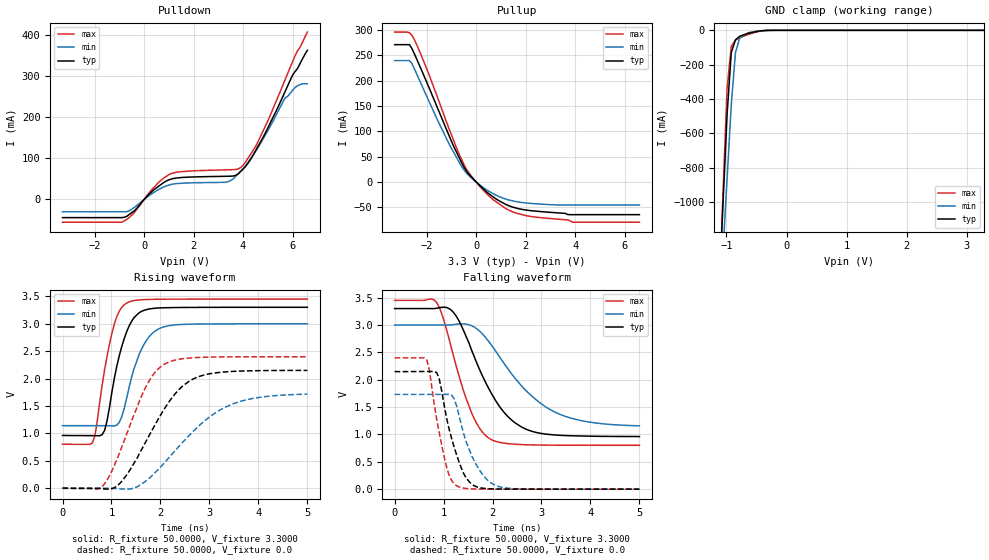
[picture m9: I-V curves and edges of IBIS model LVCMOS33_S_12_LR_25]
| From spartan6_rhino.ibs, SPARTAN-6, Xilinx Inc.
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|   Model LVCMOS33_S_12_LR_25
[Model]  LVCMOS33_S_12_LR_25
Model_type I/O
Polarity   Non-Inverting
Enable   Active-Low
Vinl =   0.8000V
Vinh =   2.0000V
Vmeas =  1.6500V
Cref =   0.0F
Rref =   1.0000M
Vref =   0.0V
C_comp   6.08pF   5.79pF   6.38pF
|C_comp  6.55pF   6.18pF   6.90pF
[Temperature Range]   25.0000   85.0000   0.0
[Voltage Range]   3.3000V   3.0000V   3.4500V
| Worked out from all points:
|   slope of the pulldown table from 0 to 0.495 V, typ, clamps not added: 17.6 ohm
|   slope of the pullup table from 0 to 0.495 V, typ, clamps not added: 21.9 ohm
|   GND clamp passes 1 mA (typ) near -0.37 V on its own axis
|   rising waveform, R_fixture 50.0000, V_fixture 3.3000: 20-80 % time 352ps typ, 392ps min, 311ps max; typ from 0.963 V to 3.3 V
|   rising waveform, R_fixture 50.0000, V_fixture 0.0: 20-80 % time 855ps typ, 1.16ns min, 656ps max; typ from 0.005 V to 2.15 V
|   falling waveform, R_fixture 50.0000, V_fixture 3.3000: 20-80 % time 772ps typ, 1.07ns min, 544ps max; typ from 3.3 V to 0.962 V
|   falling waveform, R_fixture 50.0000, V_fixture 0.0: 20-80 % time 367ps typ, 431ps min, 290ps max; typ from 2.15 V to 0 V
[Pulldown]
|Voltage   I(typ)   I(min)   I(max)
-3.3V     -44.1mA    -29.8mA    -55.19mA
-900mV    -44.1mA    -29.8mA    -55.19mA
-400mV    -28.02mA   -19.52mA   -31.94mA
300mV     18.55mA    13.49mA    23.39mA
1V        47.69mA    35mA       60.39mA
3.3V      56.34mA    42.11mA    71.89mA
3.9V      67.81mA    68.54mA    77.64mA
4.6V      128.4mA    125.4mA    139.6mA
5.7V      262.2mA    246.9mA    290.8mA
6V        301.8mA    264.9mA    334.5mA
6.2V      318mA      276.5mA    361mA
6.6V      362.4mA    281.2mA    406.7mA
[Pullup]
|Voltage   I(typ)   I(min)   I(max)
-3.3V     271.2mA    239.8mA    296mA
-2.7V     271.2mA    239.8mA    294.7mA
-2.6V     263.6mA    233.8mA    289.8mA
-2V       197mA      169.1mA    223.4mA
-1.1V     92.03mA    75.56mA    105.6mA
-500mV    30mA       24.41mA    35.09mA
0V        241.4uA    90.5nA     720.3nA
700mV     -29.7mA    -23.18mA   -35.27mA
1.4V      -48.09mA   -36.21mA   -57.21mA
2.2V      -56.26mA   -41.99mA   -67.72mA
3.9V      -64.22mA   -45.24mA   -79.08mA
6.6V      -64.22mA   -45.24mA   -79.08mA
[GND_clamp]
|Voltage   I(typ)   I(min)   I(max)
-3.3V     -18.52A    -15.36A    -21.95A
-1.13V    -1.576A    -1.741A    -1.622A
-1.06V    -1.033A    -1.304A    -972.3mA
-990mV    -491.6mA   -868.4mA   -339.8mA
-920mV    -129.2mA   -432.6mA   -93.44mA
-850mV    -55.09mA   -130.6mA   -57.8mA
-780mV    -34.6mA    -44.44mA   -43.32mA
-640mV    -18.05mA   -14.41mA   -24.46mA
-430mV    -2.792mA   -3.457mA   -4.527mA
-290mV    -120.4uA   -138.5uA   -718.9uA
3.28V     30.42nA    258.3nA    28.48nA
[POWER_clamp]
|Voltage   I(typ)   I(min)   I(max)
-3.28V    0A         0A         0A
-3.24V    0A         0A         0A
-3.2V     0A         0A         0A
0V        0A         0A         0A
[Ramp]
| variable   typ   min   max
dV/dt_r  1.2894/0.8562n   1.0302/1.1633n   1.4388/0.6553n
dV/dt_f  1.4029/0.7711n   1.1058/1.0710n   1.5889/0.5427n
R_load = 50.0000
[Rising Waveform]
R_fixture= 50.0000
V_fixture= 3.3000
V_fixture_min= 3.0000
V_fixture_max= 3.4500
|time   V(typ)   V(min)   V(max)
0s        962.8mV    1.142V     804mV
610ps     960.9mV    1.142V     828.6mV
660ps     961mV      1.142V     954.6mV
860ps     1.056V     1.142V     2.163V
1.06ns    2.013V     1.137V     3V
1.16ns    2.42V      1.204V     3.231V
1.31ns    2.853V     1.642V     3.376V
1.62ns    3.228V     2.549V     3.437V
2.02ns    3.289V     2.928V     3.446V
5ns       3.299V     2.999V     3.449V
[Rising Waveform]
R_fixture= 50.0000
V_fixture= 0.0
|time   V(typ)   V(min)   V(max)
0s        5.112mV    657.3nV    92.02uV
710ps     728.5uV    -9.997uV   -13.92mV
860ps     -10.82mV   -41.61uV   85.08mV
1.21ns    129mV      -11.19mV   752.5mV
1.72ns    880.7mV    146.2mV    1.88V
2.12ns    1.504V     505mV      2.28V
2.63ns    1.975V     1.004V     2.377V
3.33ns    2.123V     1.479V     2.396V
3.99ns    2.144V     1.653V     2.398V
5ns       2.149V     1.717V     2.398V
[Falling Waveform]
R_fixture= 50.0000
V_fixture= 3.3000
V_fixture_min= 3.0000
V_fixture_max= 3.4500
|time   V(typ)   V(min)   V(max)
0s        3.3V       3V         3.45V
860ps     3.306V     3V         3.408V
1.01ns    3.324V     2.999V     3.076V
1.21ns    3.222V     3.008V     2.409V
1.57ns    2.545V     2.987V     1.398V
1.97ns    1.761V     2.641V     908.6mV
2.47ns    1.206V     2.014V     820.5mV
3.18ns    997.6mV    1.452V     804.4mV
3.89ns    969.9mV    1.239V     802.2mV
5ns       961.9mV    1.158V     801.8mV
[Falling Waveform]
R_fixture= 50.0000
V_fixture= 0.0
|time   V(typ)   V(min)   V(max)
0s        2.149V     1.731V     2.399V
660ps     2.15V      1.731V     2.356V
860ps     2.129V     1.731V     1.275V
910ps     2.022V     1.731V     1.037V
1.06ns    1.306V     1.732V     410.3mV
1.21ns    787.1mV    1.663V     105.5mV
1.31ns    512.3mV    1.369V     42.75mV
1.62ns    64.88mV    527.4mV    4.395mV
2.07ns    3.858mV    66.43mV    878.9uV
5ns       96.94uV    256.4uV    96.11uV
